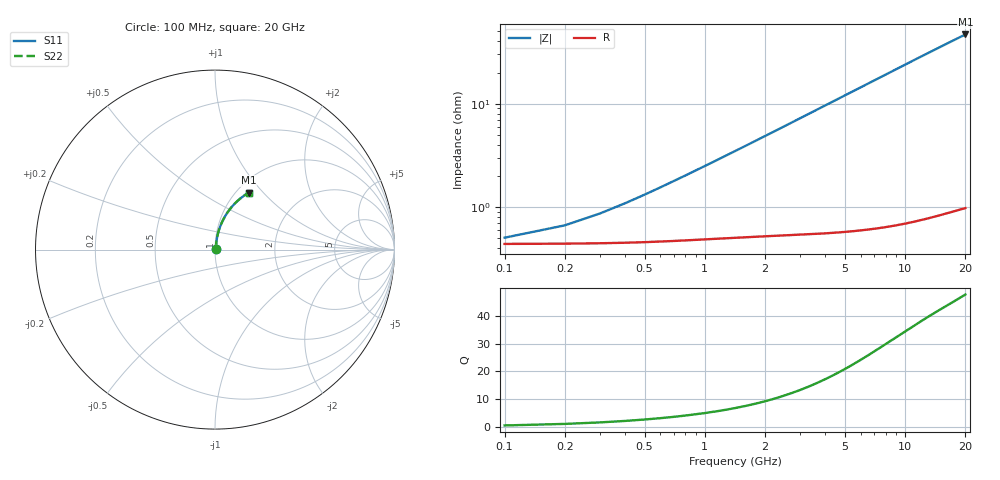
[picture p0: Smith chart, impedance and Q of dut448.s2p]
! Touchstone file exported from HFSS 2026.1.0
!  File:  C:/ffzhzh/LocalFiles/Ansys_Project_Files/temp_train_BSMRDL_448_1783013215_51716.aedt
!  Generated:  01:28:34 AM Jul  3, 2026
!  Design:  BSMRDL
!  Project:  temp_train_BSMRDL_448_1783013215_51716
! Variables:
!  h_bsmrdl = 2.18um
!  h_ox = 20um
!  h_rdl = 5um
!  h_sub = 80um
!  h_tmrdl = 5um
!  h_tsv = 80um
!  h_via = 3um
!  l_bsmrdl = 318.44um
!  l_sub = 718.44um
!  l_tmrdl = 200um
!  m_sub = 200um
!  pitch = 51.14um
!  r_tsv = 6um
!  s_tmrdl = 10um
!  w_bsmrdl = 12.37um
!  w_sub = 500um
!  w_tmrdl = 12um
!  x_tsv_center1 = 206um
!  x_tsv_center2 = 536.81um
!  x_tsv_center3 = 748.81um
!  x_tsv_center4 = 1079.62um
!  x_tsv_center5 = 1291.62um
!  x_tsv_center6 = 1622.43um
# GHz S MA R 50.000000
! Terminal data exported
! Port[1] = BSM_RDL1_1_T1
! Port[2] = BSM_RDL1_1_T2
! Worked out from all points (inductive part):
!   200 points, 100 MHz to 20 GHz, reference 50 ohm
!   read as one part in series: L = 391 pH near 600 MHz
!   highest Q = 47.6 at 20 GHz (marker M1), where L = 371 pH
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0.1  0.004892 26.0  0.9956 -0.2  0.9956 -0.2  0.004892 26.0
! Gamma 0 0 0 0
! Port Impedance 50 0 50 0
0.3  0.007837 54.9  0.9955 -0.5  0.9955 -0.5  0.007837 54.9
0.4  0.009687 61.6  0.9955 -0.6  0.9955 -0.6  0.009687 61.6
0.5  0.01162 66.1  0.9954 -0.8  0.9954 -0.8  0.01162 66.1
0.6  0.0136 69.2  0.9953 -1.0  0.9953 -1.0  0.0136 69.2
0.7  0.0156 71.4  0.9952 -1.1  0.9952 -1.1  0.0156 71.4
0.9  0.01963 74.4  0.995 -1.4  0.995 -1.4  0.01963 74.4
1.2  0.0257 77.0  0.9947 -1.9  0.9947 -1.9  0.0257 77.0
1.4  0.02974 78.1  0.9945 -2.2  0.9945 -2.2  0.02974 78.1
1.7  0.03582 79.1  0.9943 -2.7  0.9943 -2.7  0.03582 79.1
2.2  0.04597 80.0  0.9937 -3.4  0.9937 -3.4  0.04597 80.0
2.8  0.05816 80.3  0.993 -4.4  0.993 -4.4  0.05816 80.4
3.5  0.07236 80.2  0.9919 -5.5  0.9919 -5.5  0.07236 80.2
4.2  0.08652 79.8  0.9907 -6.5  0.9907 -6.5  0.08652 79.8
5  0.1026 79.0  0.989 -7.8  0.989 -7.8  0.1026 79.1
5.9  0.1206 78.1  0.9869 -9.1  0.9869 -9.1  0.1206 78.1
6.8  0.1385 77.0  0.9843 -10.5  0.9843 -10.5  0.1385 77.0
8.3  0.1677 75.0  0.9795 -12.8  0.9795 -12.8  0.1677 75.0
10.1  0.202 72.6  0.9726 -15.5  0.9726 -15.5  0.202 72.6
13.4  0.2621 68.1  0.9575 -20.3  0.9575 -20.3  0.2621 68.1
16.7  0.3181 63.6  0.9397 -24.9  0.9397 -24.9  0.3181 63.6
20  0.3698 59.3  0.9201 -29.3  0.9201 -29.3  0.3698 59.3
